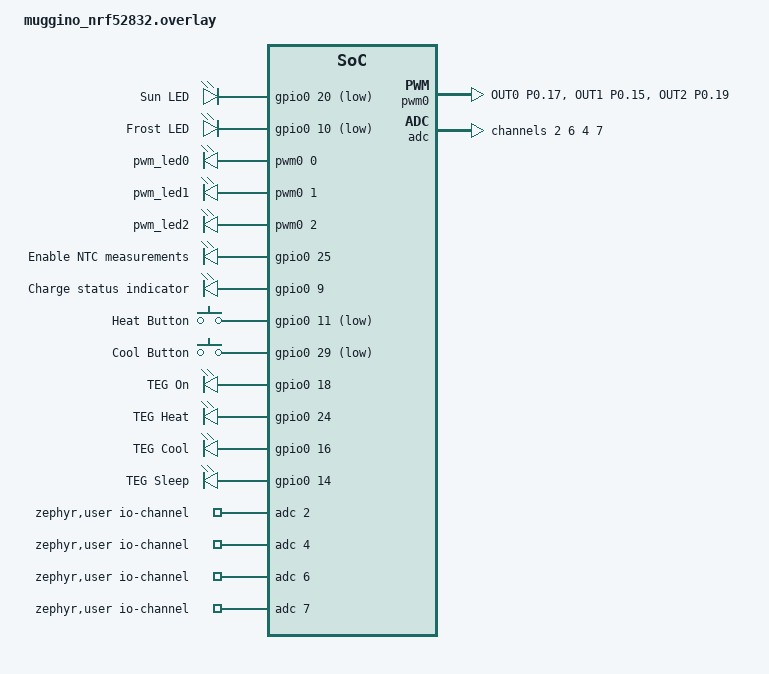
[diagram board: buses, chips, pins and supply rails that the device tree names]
/ {

	leds {
		compatible = "gpio-leds";
		led_sun: led_sun {
			gpios = <&gpio0 20 GPIO_ACTIVE_LOW>;
			label = "Sun LED";
		};
		led_frost: led_frost {
			gpios = <&gpio0 10 GPIO_ACTIVE_LOW>;
			label = "Frost LED";
		};
	};

    pwmleds {
        compatible = "pwm-leds";
        pwm_led0: pwm_led_0 {
            pwms = <&pwm0 0 PWM_MSEC(20) PWM_POLARITY_NORMAL>; // R
        };
        pwm_led1: pwm_led_1 {
            pwms = <&pwm0 1 PWM_MSEC(20) PWM_POLARITY_NORMAL>; // G
        };
        pwm_led2: pwm_led_2 {
            pwms = <&pwm0 2 PWM_MSEC(20) PWM_POLARITY_NORMAL>; // B
        };
    };
    pins {
        compatible = "gpio-leds";
        enable_measure: enable_measure {
            gpios = <&gpio0 25 GPIO_PULL_UP>;
            label = "Enable NTC measurements";
        };
        chg_stat: chg_stat {
            gpios = <&gpio0 9 GPIO_PULL_UP>;
            label = "Charge status indicator";
        };
    };

	buttons {
		compatible = "gpio-keys";
		button_heat: button_heat {
			/* noise is unlikely to trigger button in active low configuration */
			gpios = <&gpio0 11 (GPIO_ACTIVE_LOW)>;
			label = "Heat Button";
		};
		button_cool: button_cool {
			gpios = <&gpio0 29 (GPIO_ACTIVE_LOW)>;
			label = "Cool Button";
		};
	};


	teg {
		compatible = "gpio-leds";
		teg_on: teg_on {
			gpios = <&gpio0 18 (GPIO_ACTIVE_HIGH | GPIO_PULL_DOWN)>; // off by default 
			label = "TEG On";
		};		
		teg_heat: teg_heat {
			gpios = <&gpio0 24 (GPIO_ACTIVE_HIGH | GPIO_PULL_DOWN)>; // off by default
			label = "TEG Heat";
		};
		teg_cool: teg_cool {
			gpios = <&gpio0 16 (GPIO_ACTIVE_HIGH | GPIO_PULL_DOWN)>; // off by default
			label = "TEG Cool";
		};
		teg_sleep: teg_sleep {
			gpios = <&gpio0 14 (GPIO_ACTIVE_HIGH | GPIO_PULL_DOWN)>; // technically this pin should be active low, but i did this so that it doesn't activate h-bridge during boot. 
			label = "TEG Sleep";
		};
	};

    aliases {
        button-heat = &button_heat;
        button-cool = &button_cool;
        led-sun = &led_sun; 
        led-frost = &led_frost;
        enable-measure = &enable_measure;
        chg-stat = &chg_stat;
        pwm-led-red = &pwm_led0;
        pwm-led-green = &pwm_led1;
        pwm-led-blue = &pwm_led2;
        teg-heat = &teg_heat;
        teg-cool = &teg_cool;
		teg-sleep = &teg_sleep;
		teg-on = &teg_on;
        watchdog = &wdt0;

    };
    

    zephyr,user {
        //compatible = "voltage-divider";
        // Bat voltage, drink ntc, heatsink ntc, I_TEG
        // channel idx: 0, 1, 2 (for ADC_DT_SPEC_GET_BY_IDX)
        io-channels =  <&adc 2>, <&adc 4>, <&adc 6>, <&adc 7>;
    };
};

&gpio0 {
    wakeup-source;
};




&pinctrl {

    // RGB
	pwm0_default: pwm0_default {
		group1 {
			psels = <NRF_PSEL(PWM_OUT0, 0, 17)>, // R
                <NRF_PSEL(PWM_OUT1, 0, 15)>, // G
				<NRF_PSEL(PWM_OUT2, 0, 19)>; // B
		};
	};
	pwm0_sleep: pwm0_sleep {
		group1 {
			psels = <NRF_PSEL(PWM_OUT0, 0, 17)>,
                <NRF_PSEL(PWM_OUT1, 0, 15)>,
				<NRF_PSEL(PWM_OUT2, 0, 19)>;
			low-power-enable;
		};
	};
    // UART 
    uart0_default: uart0_default {
        group1 {
            psels = <NRF_PSEL(UART_RX, 0, 8)>,
                    <NRF_PSEL(UART_TX, 0, 6)>;
        };
    };

    uart0_sleep: uart0_sleep {
        group1 {
            psels = <NRF_PSEL(UART_RX, 0, 8)>,
                    <NRF_PSEL(UART_TX, 0, 6)>;
        };
    };
};

// Green, Red, Blue LEDS
&pwm0 {
	status = "okay";
    #pwm-cells = <3>;
	pinctrl-0 = <&pwm0_default>;
	pinctrl-1 = <&pwm0_sleep>;
	pinctrl-names = "default", "sleep";
	label = "pwm_rgb";
};


&adc {
    #address-cells = <1>;
    #size-cells = <0>;
    status = "okay";
    /* BAT VOLTAGE*/
    channel@2 {
        reg = <2>;
        zephyr,gain = "ADC_GAIN_1_6";
        zephyr,reference = "ADC_REF_INTERNAL";
        zephyr,acquisition-time = <ADC_ACQ_TIME_DEFAULT>;
        zephyr,input-positive = <NRF_SAADC_AIN2>;
        zephyr,resolution = <12>;
    };
    /* HEATSINK NTC */
    channel@6 {
        reg = <6>;
        zephyr,gain = "ADC_GAIN_1_6";
        zephyr,reference = "ADC_REF_INTERNAL";
        zephyr,acquisition-time = <ADC_ACQ_TIME_DEFAULT>;
        zephyr,input-positive = <NRF_SAADC_AIN6>;
        zephyr,resolution = <12>;
    };
    /* DRINK NTC */
    channel@4 {
        reg = <4>;
        zephyr,gain = "ADC_GAIN_1_6";
        zephyr,reference = "ADC_REF_INTERNAL";
        zephyr,acquisition-time = <ADC_ACQ_TIME_DEFAULT>;
        zephyr,input-positive = <NRF_SAADC_AIN4>;
        zephyr,resolution = <12>;
    };
    /* TEG CURRENT*/
    channel@7 {
        reg = <7>;
        zephyr,gain = "ADC_GAIN_1_6";
        zephyr,reference = "ADC_REF_INTERNAL";
        zephyr,acquisition-time = <ADC_ACQ_TIME_DEFAULT>;
        zephyr,input-positive = <NRF_SAADC_AIN7>;
        zephyr,resolution = <12>;
    };
};

// /delete-node/ &slot1_partition;
// &flash0 {

//     partitions {
//         compatible = "fixed-partitions";
//         #address-cells = <1>;
//         #size-cells = <1>;

//         boot_partition: partition@0 {
//             label = "mcuboot";
//             reg = <0x00000000 0xc000>;
//         };
//         slot0_partition: partition@c000 {
//             label = "image-0";
//             reg = <0x0000C000 0x6E000>;
//         };
//         storage_partition: partition@7a000 {
//             label = "storage";
//             reg = <0x0007a000 0x00006000>;
//         };
//     };
// };




// &wdt {
// 	status = "disabled";
// };
// /delete-node/ &slot1_partition;

// &slot0_partition {
// 	reg = <0xc000 0x72000>;
// };

// &storage_partition {
// 	reg = <0x7e000 0x2000>;
// };
